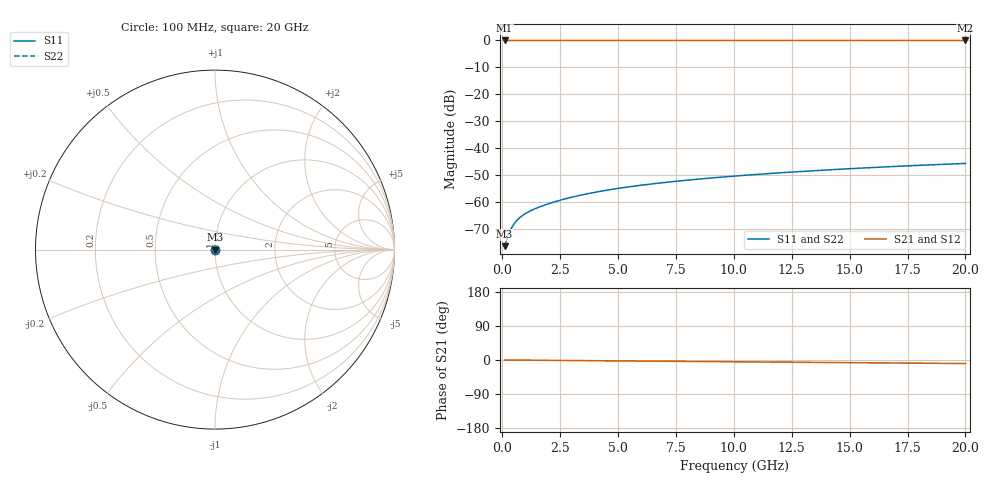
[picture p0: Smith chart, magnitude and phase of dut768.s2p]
! Touchstone file exported from HFSS 2026.1.0
!  File:  C:/ffzhzh/LocalFiles/Ansys_Project_Files/temp_train_TSV_768_1783183401_55132.aedt
!  Generated:  12:44:49 AM Jul  5, 2026
!  Design:  TSV
!  Project:  temp_train_TSV_768_1783183401_55132
! Variables:
!  h_bsmrdl = 2um
!  h_ox = 20um
!  h_rdl = 5um
!  h_sub = 95.39um
!  h_tmrdl = 5um
!  h_tsv = 95.39um
!  h_via = 3um
!  l_bsmrdl = 300um
!  l_sub = 421.36um
!  l_tmrdl = 200um
!  m_sub = 200um
!  pitch = 44.78um
!  r_tsv = 10.68um
!  s_tmrdl = 10um
!  w_bsmrdl = 18um
!  w_sub = 500um
!  w_tmrdl = 12um
!  x_tsv_center1 = 206um
!  x_tsv_center2 = 524um
!  x_tsv_center3 = 736um
!  x_tsv_center4 = 1054um
!  x_tsv_center5 = 1266um
!  x_tsv_center6 = 1584um
# GHz S MA R 50.000000
! Terminal data exported
! Port[1] = TSV1_1_T1
! Port[2] = TSV1_1_T2
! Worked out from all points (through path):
!   200 points, 100 MHz to 20 GHz, reference 50 ohm
!   highest |S21| = 0.00 dB at 100 MHz (marker M1); lowest = 0.0 dB at 20 GHz (marker M2)
!   group delay of S21, straight-line fit = 1.29 ps
!   lowest |S11| = -76.4 dB at 100 MHz (marker M3), VSWR 1.00, Z = 50 + j0.00744 ohm
!   |S11| at or under -10 dB: start of sweep to end of sweep
!   |S22| runs from -76.4 to -45.7 dB; largest |S21 - S12| = 4.5e-15
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0.1  0.0001516 29.4  0.9999 -0.0  0.9999 -0.0  0.0001516 29.4
! Gamma 0 0 0 0
! Port Impedance 50 0 50 0
0.2  0.0002062 44.8  0.9999 -0.1  0.9999 -0.1  0.0002062 44.8
0.3  0.000269 51.5  0.9998 -0.1  0.9998 -0.1  0.000269 51.5
0.4  0.0003307 54.3  0.9998 -0.2  0.9998 -0.2  0.0003307 54.3
0.5  0.0003883 55.4  0.9998 -0.2  0.9998 -0.2  0.0003883 55.4
0.6  0.0004409 55.9  0.9998 -0.3  0.9998 -0.3  0.0004409 55.9
0.7  0.0004888 56.0  0.9997 -0.3  0.9997 -0.3  0.0004888 56.0
0.9  0.0005731 56.2  0.9997 -0.4  0.9997 -0.4  0.0005731 56.2
1.1  0.0006468 56.5  0.9996 -0.5  0.9996 -0.5  0.0006468 56.5
1.3  0.0007143 57.0  0.9996 -0.6  0.9996 -0.6  0.0007143 57.0
1.6  0.0008095 58.0  0.9996 -0.8  0.9996 -0.8  0.0008095 58.0
1.9  0.0009015 59.0  0.9995 -0.9  0.9995 -0.9  0.0009015 59.0
2.6  0.001112 61.1  0.9995 -1.2  0.9995 -1.2  0.001112 61.1
3.5  0.001375 62.9  0.9994 -1.7  0.9994 -1.7  0.001375 62.9
4.2  0.001573 63.7  0.9993 -2.0  0.9993 -2.0  0.001573 63.7
5  0.001792 64.3  0.9993 -2.4  0.9993 -2.4  0.001792 64.3
6.8  0.002257 65.1  0.9992 -3.2  0.9992 -3.2  0.002257 65.1
8.3  0.002624 65.5  0.9991 -3.9  0.9991 -3.9  0.002624 65.5
10.1  0.003051 65.8  0.999 -4.7  0.999 -4.7  0.003051 65.8
13.4  0.003806 65.9  0.9988 -6.3  0.9988 -6.3  0.003806 65.9
16.7  0.004528 65.5  0.9987 -7.8  0.9987 -7.8  0.004528 65.5
20  0.005214 64.7  0.9985 -9.3  0.9985 -9.3  0.005214 64.7
